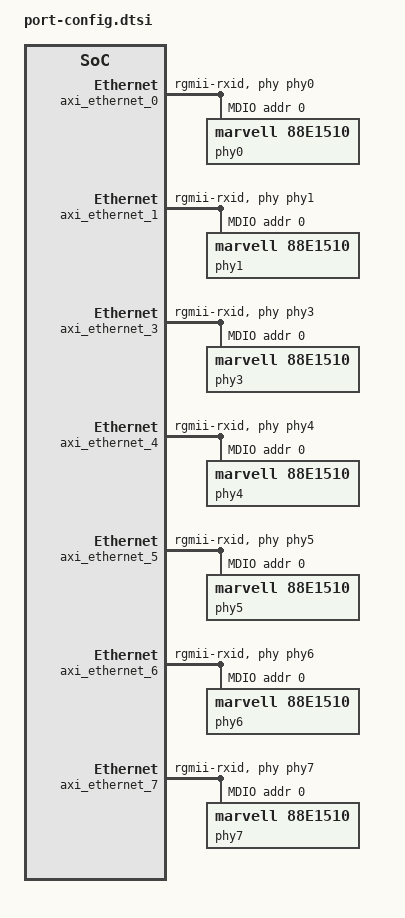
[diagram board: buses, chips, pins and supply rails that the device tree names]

    &axi_ethernet_0 {  
        local-mac-address = [00 0a 35 00 01 22];  
        phy-handle = <&phy0>;  
        xlnx,has-mdio = <0x1>;  
        phy-mode = "rgmii-rxid";  
        mdio {  
            #address-cells = <1>;  
            #size-cells = <0>;  
            phy0: phy@0 {  
                compatible = "marvell,88e1510";  
                device_type = "ethernet-phy";  
                reg = <0>;  
            };  
        };  
    };  
      
    &axi_ethernet_1 {  
        local-mac-address = [00 0a 35 00 01 23];  
        phy-handle = <&phy1>;  
        xlnx,has-mdio = <0x1>;  
        phy-mode = "rgmii-rxid";  
        mdio {  
            #address-cells = <1>;  
            #size-cells = <0>;  
            phy1: phy@0 {  
                compatible = "marvell,88e1510";  
                device_type = "ethernet-phy";  
                reg = <0>;  
            };  
        };  
    };  
      
    &axi_ethernet_3 {  
        local-mac-address = [00 0a 35 00 01 25];  
        phy-handle = <&phy3>;  
        xlnx,has-mdio = <0x1>;  
        phy-mode = "rgmii-rxid";  
        mdio {  
            #address-cells = <1>;  
            #size-cells = <0>;  
            phy3: phy@0 {  
                compatible = "marvell,88e1510";  
                device_type = "ethernet-phy";  
                reg = <0>;  
            };  
        };  
    };  
      
    &axi_ethernet_4 {  
        local-mac-address = [00 0a 35 00 01 26];  
        phy-handle = <&phy4>;  
        xlnx,has-mdio = <0x1>;  
        phy-mode = "rgmii-rxid";  
        mdio {  
            #address-cells = <1>;  
            #size-cells = <0>;  
            phy4: phy@0 {  
                compatible = "marvell,88e1510";  
                device_type = "ethernet-phy";  
                reg = <0>;  
            };  
        };  
    };  
      
    &axi_ethernet_5 {  
        local-mac-address = [00 0a 35 00 01 27];  
        phy-handle = <&phy5>;  
        xlnx,has-mdio = <0x1>;  
        phy-mode = "rgmii-rxid";  
        mdio {  
            #address-cells = <1>;  
            #size-cells = <0>;  
            phy5: phy@0 {  
                compatible = "marvell,88e1510";  
                device_type = "ethernet-phy";  
                reg = <0>;  
            };  
        };  
    };  
      
    &axi_ethernet_6 {  
        local-mac-address = [00 0a 35 00 01 28];  
        phy-handle = <&phy6>;  
        xlnx,has-mdio = <0x1>;  
        phy-mode = "rgmii-rxid";  
        mdio {  
            #address-cells = <1>;  
            #size-cells = <0>;  
            phy6: phy@0 {  
                compatible = "marvell,88e1510";  
                device_type = "ethernet-phy";  
                reg = <0>;  
            };  
        };  
    };  
      
    &axi_ethernet_7 {  
        local-mac-address = [00 0a 35 00 01 29];  
        phy-handle = <&phy7>;  
        xlnx,has-mdio = <0x1>;  
        phy-mode = "rgmii-rxid";  
        mdio {  
            #address-cells = <1>;  
            #size-cells = <0>;  
            phy7: phy@0 {  
                compatible = "marvell,88e1510";  
                device_type = "ethernet-phy";  
                reg = <0>;  
            };  
        };  
    };  

